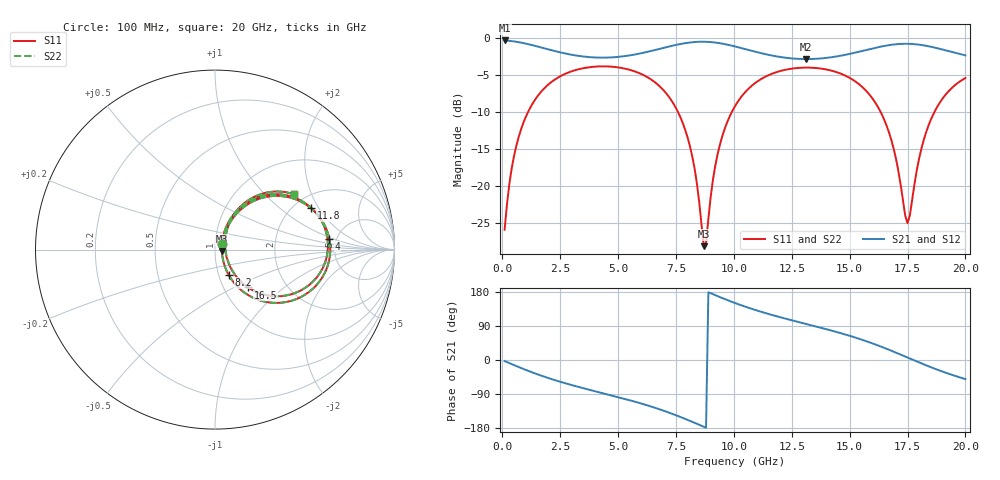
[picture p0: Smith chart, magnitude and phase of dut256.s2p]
! Touchstone file exported from HFSS 2026.1.0
!  File:  C:/ffzhzh/LocalFiles/Ansys_Project_Files/temp_train_TSV_RDL_256_1783068588_36532.aedt
!  Generated:  05:07:37 PM Jul  3, 2026
!  Design:  TSV_RDL
!  Project:  temp_train_TSV_RDL_256_1783068588_36532
! Variables:
!  h_bsmrdl = 5.42um
!  h_ox = 20um
!  h_rdl = 5um
!  h_sub = 99.63um
!  h_tmrdl = 3.15um
!  h_tsv = 99.63um
!  h_via = 3um
!  l_bsmrdl = 782.21um
!  l_sub = 6731.38um
!  l_tmrdl = 973.14um
!  m_sub = 200um
!  pitch = 52.15um
!  r_tsv = 5.92um
!  s_tmrdl = 10um
!  w_bsmrdl = 15.8um
!  w_sub = 500um
!  w_tmrdl = 14.93um
!  x_tsv_center1 = 980.605um
!  x_tsv_center2 = 1778.615um
!  x_tsv_center3 = 2766.685um
!  x_tsv_center4 = 3564.695um
!  x_tsv_center5 = 4552.765um
!  x_tsv_center6 = 5350.775um
# GHz S MA R 50.000000
! Terminal data exported
! Port[1] = TM_RDL1_1_T1
! Port[2] = TM_RDL5_1_T1
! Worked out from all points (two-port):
!   200 points, 100 MHz to 20 GHz, reference 50 ohm
!   highest |S21| = -0.36 dB at 100 MHz (marker M1); lowest = -2.9 dB at 13.1 GHz (marker M2)
!   |S21| within 3 dB of the highest: start of sweep to end of sweep
!   lowest |S11| = -28.1 dB at 8.7 GHz (marker M3), VSWR 1.08, Z = 54 - j1.08 ohm
!   |S11| at or under -10 dB: start of sweep to 1.112 GHz; 7.588 GHz to 9.912 GHz (2.324 GHz wide, 26.6 % of centre); 16.34 GHz to 18.66 GHz (2.324 GHz wide, 13.3 % of centre)
!   |S22| runs from -28.1 to -3.8 dB; largest |S21 - S12| = 1.7e-14
!   S11 on the Smith chart (normalised r, x): 100 MHz: 1.08, +0.07; 4 GHz: 4.34, +0.91; 8.2 GHz: 1.12, -0.32; 11.8 GHz: 2.45, +1.73; 16.5 GHz: 1.30, -0.59; 20 GHz: 1.73, +1.50
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0.1  0.05101 35.9  0.9596 -2.7  0.9596 -2.7  0.05101 35.9
! Gamma 0 0 0 0
! Port Impedance 50 0 50 0
0.5  0.1582 61.1  0.9458 -13.3  0.9458 -13.3  0.1582 61.1
1.1  0.3136 54.0  0.9077 -28.2  0.9077 -28.2  0.3136 54.0
3.5  0.6241 13.0  0.7482 -74.4  0.7482 -74.4  0.6241 13.0
4  0.6393 5.5  0.7371 -82.3  0.7371 -82.3  0.6392 5.6
5.4  0.6147 -15.3  0.7569 -104.5  0.7569 -104.5  0.6147 -15.3
6.8  0.4708 -39.0  0.8428 -130.2  0.8428 -130.2  0.4707 -39.0
7.6  0.3136 -53.9  0.9023 -148.1  0.9023 -148.1  0.3135 -53.9
8.2  0.1602 -61.6  0.9334 -163.0  0.9334 -163.0  0.1602 -61.6
8.7  0.03954 -14.6  0.941 -176.0  0.941 -176.0  0.0394 -14.6
9.3  0.1649 63.9  0.9244 168.4  0.9244 168.4  0.1649 63.9
10.1  0.3569 52.5  0.8707 149.2  0.8707 149.2  0.3569 52.6
11.8  0.5844 23.4  0.7517 116.2  0.7517 116.2  0.5844 23.5
13.1  0.6299 4.2  0.7191 95.4  0.7191 95.4  0.6299 4.3
13.4  0.6283 -0.1  0.7202 90.8  0.7202 90.8  0.6283 0.0
15.3  0.5016 -29.3  0.7988 58.2  0.7988 58.2  0.5016 -29.1
16.5  0.2795 -49.0  0.8816 31.9  0.8816 31.9  0.2797 -48.7
16.7  0.2307 -51.1  0.8924 27.0  0.8924 27.0  0.2309 -50.7
17.5  0.0565 4.9  0.9112 6.5  0.9112 6.5  0.05805 5.0
18  0.1535 61.2  0.8991 -6.4  0.8991 -6.4  0.1542 60.7
18.5  0.2789 59.3  0.8713 -18.8  0.8713 -18.8  0.2793 59.1
20  0.5361 35.2  0.7616 -50.4  0.7616 -50.4  0.5363 35.1
